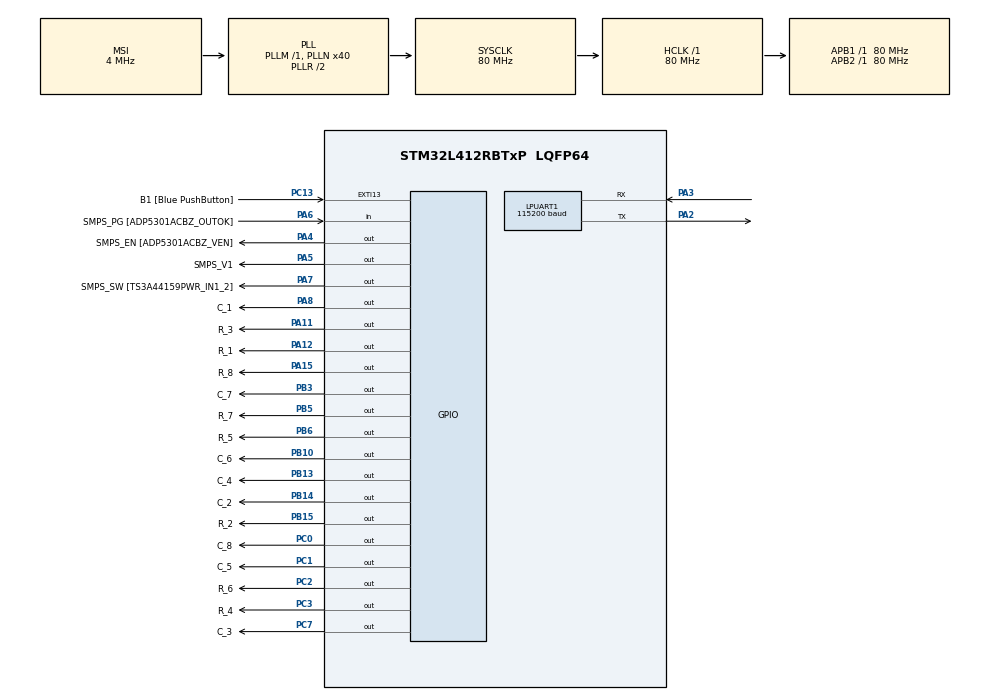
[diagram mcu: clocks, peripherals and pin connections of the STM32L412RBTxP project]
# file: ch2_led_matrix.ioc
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LPUART1.BaudRate=115200
LPUART1.WordLength=UART_WORDLENGTH_8B
Mcu.Family=STM32L4
Mcu.Name=STM32L412RBTxP
Mcu.Package=LQFP64
NVIC.PriorityGroup=NVIC_PRIORITYGROUP_4
PA11.GPIO_Label=R_3
PA11.PinState=GPIO_PIN_SET
PA11.Signal=GPIO_Output
PA12.GPIO_Label=R_1
PA12.PinState=GPIO_PIN_SET
PA12.Signal=GPIO_Output
PA13\ (JTMS/SWDIO).GPIO_Label=TMS
PA13\ (JTMS/SWDIO).Mode=Serial_Wire
PA13\ (JTMS/SWDIO).Signal=SYS_JTMS-SWDIO
PA14\ (JTCK/SWCLK).GPIO_Label=TCK
PA14\ (JTCK/SWCLK).Mode=Serial_Wire
PA14\ (JTCK/SWCLK).Signal=SYS_JTCK-SWCLK
PA15\ (JTDI).GPIO_Label=R_8
PA15\ (JTDI).PinState=GPIO_PIN_SET
PA15\ (JTDI).Signal=GPIO_Output
PA2.Mode=Asynchronous
PA2.Signal=LPUART1_TX
PA3.Mode=Asynchronous
PA3.Signal=LPUART1_RX
PA4.GPIO_Label=SMPS_EN [ADP5301ACBZ_VEN]
PA4.Signal=GPIO_Output
PA5.GPIO_Label=SMPS_V1
PA5.GPIO_ModeDefaultOutputPP=GPIO_MODE_OUTPUT_PP
PA5.GPIO_PuPd=GPIO_NOPULL
PA5.GPIO_Speed=GPIO_SPEED_FREQ_LOW
PA5.Signal=GPIO_Output
PA6.GPIO_Label=SMPS_PG [ADP5301ACBZ_OUTOK]
PA6.GPIO_PuPd=GPIO_PULLUP
PA6.Signal=GPIO_Input
PA7.GPIO_Label=SMPS_SW [TS3A44159PWR_IN1_2]
PA7.Signal=GPIO_Output
PA8.GPIO_Label=C_1
PA8.PinState=GPIO_PIN_RESET
PA8.Signal=GPIO_Output
PB10.GPIO_Label=C_6
PB10.PinState=GPIO_PIN_RESET
PB10.Signal=GPIO_Output
PB13.GPIO_Label=C_4
PB13.PinState=GPIO_PIN_RESET
PB13.Signal=GPIO_Output
PB14.GPIO_Label=C_2
PB14.PinState=GPIO_PIN_RESET
PB14.Signal=GPIO_Output
PB15.GPIO_Label=R_2
PB15.PinState=GPIO_PIN_SET
PB15.Signal=GPIO_Output
PB3\ (JTDO/TRACESWO).GPIO_Label=C_7
PB3\ (JTDO/TRACESWO).PinState=GPIO_PIN_RESET
PB3\ (JTDO/TRACESWO).Signal=GPIO_Output
PB5.GPIO_Label=R_7
PB5.PinState=GPIO_PIN_SET
PB5.Signal=GPIO_Output
PB6.GPIO_Label=R_5
PB6.PinState=GPIO_PIN_SET
PB6.Signal=GPIO_Output
PC0.GPIO_Label=C_8
PC0.PinState=GPIO_PIN_RESET
PC0.Signal=GPIO_Output
PC1.GPIO_Label=C_5
PC1.PinState=GPIO_PIN_RESET
PC1.Signal=GPIO_Output
PC13.GPIO_Label=B1 [Blue PushButton]
PC13.GPIO_ModeDefaultEXTI=GPIO_MODE_IT_FALLING
PC13.GPIO_PuPd=GPIO_NOPULL
PC13.Signal=GPXTI13
PC14-OSC32_IN\ (PC14).Mode=LSE-External-Oscillator
PC14-OSC32_IN\ (PC14).Signal=RCC_OSC32_IN
PC15-OSC32_OUT\ (PC15).Mode=LSE-External-Oscillator
PC15-OSC32_OUT\ (PC15).Signal=RCC_OSC32_OUT
PC2.GPIO_Label=R_6
PC2.PinState=GPIO_PIN_SET
PC2.Signal=GPIO_Output
PC3.GPIO_Label=R_4
PC3.PinState=GPIO_PIN_SET
PC3.Signal=GPIO_Output
PC7.GPIO_Label=C_3
PC7.PinState=GPIO_PIN_RESET
PC7.Signal=GPIO_Output
PH0-OSC_IN\ (PH0).GPIO_Label=MCO
PH0-OSC_IN\ (PH0).Mode=HSE-External-Clock-Source
PH0-OSC_IN\ (PH0).Signal=RCC_OSC_IN
PH1-OSC_OUT\ (PH1).Signal=RCC_OSC_OUT
ProjectManager.HeapSize=0x200
ProjectManager.StackSize=0x400
ProjectManager.TargetToolchain=STM32CubeIDE
RCC.ADCFreq_Value=80000000
RCC.AHBFreq_Value=80000000
RCC.APB1Freq_Value=80000000
RCC.APB1TimFreq_Value=80000000
RCC.APB2Freq_Value=80000000
RCC.APB2TimFreq_Value=80000000
RCC.CortexFreq_Value=80000000
RCC.FLatency=FLASH_LATENCY_4
RCC.HCLKFreq_Value=80000000
RCC.HSE_VALUE=8000000
RCC.HSI48_VALUE=48000000
RCC.HSICalibrationValue=64
RCC.HSI_VALUE=16000000
RCC.MSIAutoCalibration=DISABLED
RCC.MSI_VALUE=4000000
RCC.PLLN=40
RCC.PREFETCH_ENABLE=1
RCC.SYSCLKFreq_VALUE=80000000
RCC.SYSCLKSource=RCC_SYSCLKSOURCE_PLLCLK
RCC.USBFreq_Value=4000000
RCC.VCOOutputFreq_Value=160000000
board=NUCLEO-L412RB-P

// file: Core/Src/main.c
/* USER CODE BEGIN Header */
/**
  ******************************************************************************
  * @file           : main.c
  * @brief          : Main program body
  ******************************************************************************
  * @attention
  *
  * Copyright (c) 2026 STMicroelectronics.
  * All rights reserved.
  *
  * This software is licensed under terms that can be found in the LICENSE file
  * in the root directory of this software component.
  * If no LICENSE file comes with this software, it is provided AS-IS.
  *
  ******************************************************************************
  */
/* USER CODE END Header */
#include "main.h"

UART_HandleTypeDef hlpuart1;

void SystemClock_Config(void);
static void MX_GPIO_Init(void);
static void MX_LPUART1_UART_Init(void);

/* USER CODE BEGIN 0 */
#include <stdio.h>
#include <string.h>
#include <unistd.h>

//UART로 출력 보내기 위한 함수
int _write(int file, char *ptr, int len)
{
  if (file == STDOUT_FILENO)
  {
    HAL_UART_Transmit(&hlpuart1, (uint8_t*)ptr, len, HAL_MAX_DELAY);
    return len;
  }
  return -1;
}

/* USER CODE END 0 */

int main(void)
{

  /* MCU Configuration--------------------------------------------------------*/

  /* Reset of all peripherals, Initializes the Flash interface and the Systick. */
  HAL_Init();

  /* Configure the system clock */
  SystemClock_Config();

  /* Initialize all configured peripherals */
  MX_GPIO_Init();
  MX_LPUART1_UART_Init();

  /* Infinite loop */
  while (1)
  {

    /* USER CODE BEGIN 3 */
    HAL_GPIO_WritePin(C_4_GPIO_Port, C_4_Pin, GPIO_PIN_SET);
    HAL_Delay(500);
    HAL_GPIO_WritePin(C_4_GPIO_Port, C_4_Pin, GPIO_PIN_RESET);
    HAL_GPIO_WritePin(R_2_GPIO_Port, R_2_Pin, GPIO_PIN_RESET);
    printf("test 1 \r\n");
    HAL_Delay(500);

    MX_GPIO_Init();
    printf("test 1-1 \r\n");
    HAL_Delay(500);

    HAL_GPIO_WritePin(C_4_GPIO_Port, C_4_Pin, GPIO_PIN_RESET);
    HAL_GPIO_WritePin(R_2_GPIO_Port, R_2_Pin, GPIO_PIN_SET);
    printf("test 2 \r\n");
    HAL_Delay(500);
  }
  /* USER CODE END 3 */
}

void SystemClock_Config(void)
{
  RCC_OscInitTypeDef RCC_OscInitStruct = {0};
  RCC_ClkInitTypeDef RCC_ClkInitStruct = {0};

  /** Configure the main internal regulator output voltage
  */
  if (HAL_PWREx_ControlVoltageScaling(PWR_REGULATOR_VOLTAGE_SCALE1) != HAL_OK)
  {
    Error_Handler();
  }

  /** Initializes the RCC Oscillators according to the specified parameters
  * in the RCC_OscInitTypeDef structure.
  */
  RCC_OscInitStruct.OscillatorType = RCC_OSCILLATORTYPE_MSI;
  RCC_OscInitStruct.MSIState = RCC_MSI_ON;
  RCC_OscInitStruct.MSICalibrationValue = 0;
  RCC_OscInitStruct.MSIClockRange = RCC_MSIRANGE_6;
  RCC_OscInitStruct.PLL.PLLState = RCC_PLL_ON;
  RCC_OscInitStruct.PLL.PLLSource = RCC_PLLSOURCE_MSI;
  RCC_OscInitStruct.PLL.PLLM = 1;
  RCC_OscInitStruct.PLL.PLLN = 40;
  RCC_OscInitStruct.PLL.PLLQ = RCC_PLLQ_DIV2;
  RCC_OscInitStruct.PLL.PLLR = RCC_PLLR_DIV2;
  if (HAL_RCC_OscConfig(&RCC_OscInitStruct) != HAL_OK)
  {
    Error_Handler();
  }

  /** Initializes the CPU, AHB and APB buses clocks
  */
  RCC_ClkInitStruct.ClockType = RCC_CLOCKTYPE_HCLK|RCC_CLOCKTYPE_SYSCLK
                              |RCC_CLOCKTYPE_PCLK1|RCC_CLOCKTYPE_PCLK2;
  RCC_ClkInitStruct.SYSCLKSource = RCC_SYSCLKSOURCE_PLLCLK;
  RCC_ClkInitStruct.AHBCLKDivider = RCC_SYSCLK_DIV1;
  RCC_ClkInitStruct.APB1CLKDivider = RCC_HCLK_DIV1;
  RCC_ClkInitStruct.APB2CLKDivider = RCC_HCLK_DIV1;

  if (HAL_RCC_ClockConfig(&RCC_ClkInitStruct, FLASH_LATENCY_4) != HAL_OK)
  {
    Error_Handler();
  }
}

static void MX_LPUART1_UART_Init(void)
{

  hlpuart1.Instance = LPUART1;
  hlpuart1.Init.BaudRate = 115200;
  hlpuart1.Init.WordLength = UART_WORDLENGTH_8B;
  hlpuart1.Init.StopBits = UART_STOPBITS_1;
  hlpuart1.Init.Parity = UART_PARITY_NONE;
  hlpuart1.Init.Mode = UART_MODE_TX_RX;
  hlpuart1.Init.HwFlowCtl = UART_HWCONTROL_NONE;
  hlpuart1.Init.OneBitSampling = UART_ONE_BIT_SAMPLE_DISABLE;
  hlpuart1.AdvancedInit.AdvFeatureInit = UART_ADVFEATURE_NO_INIT;
  if (HAL_UART_Init(&hlpuart1) != HAL_OK)
  {
    Error_Handler();
  }

}

static void MX_GPIO_Init(void)
{
  GPIO_InitTypeDef GPIO_InitStruct = {0};

  /* GPIO Ports Clock Enable */
  __HAL_RCC_GPIOC_CLK_ENABLE();
  __HAL_RCC_GPIOH_CLK_ENABLE();
  __HAL_RCC_GPIOA_CLK_ENABLE();
  __HAL_RCC_GPIOB_CLK_ENABLE();

  /*Configure GPIO pin Output Level */
  HAL_GPIO_WritePin(GPIOC, C_8_Pin|C_5_Pin|C_3_Pin, GPIO_PIN_RESET);

  /*Configure GPIO pin Output Level */
  HAL_GPIO_WritePin(GPIOC, R_6_Pin|R_4_Pin, GPIO_PIN_SET);

  /*Configure GPIO pin Output Level */
  HAL_GPIO_WritePin(GPIOA, SMPS_EN_Pin|SMPS_V1_Pin|SMPS_SW_Pin|C_1_Pin, GPIO_PIN_RESET);

  /*Configure GPIO pin Output Level */
  HAL_GPIO_WritePin(GPIOB, C_6_Pin|C_4_Pin|C_2_Pin|C_7_Pin, GPIO_PIN_RESET);

  /*Configure GPIO pin Output Level */
  HAL_GPIO_WritePin(GPIOB, R_2_Pin|R_7_Pin|R_5_Pin, GPIO_PIN_SET);

  /*Configure GPIO pin Output Level */
  HAL_GPIO_WritePin(GPIOA, R_3_Pin|R_1_Pin|R_8_Pin, GPIO_PIN_SET);

  /*Configure GPIO pin : B1_Pin */
  GPIO_InitStruct.Pin = B1_Pin;
  GPIO_InitStruct.Mode = GPIO_MODE_IT_FALLING;
  GPIO_InitStruct.Pull = GPIO_NOPULL;
  HAL_GPIO_Init(B1_GPIO_Port, &GPIO_InitStruct);

  /*Configure GPIO pins : C_8_Pin C_5_Pin R_6_Pin R_4_Pin
                           C_3_Pin */
  GPIO_InitStruct.Pin = C_8_Pin|C_5_Pin|R_6_Pin|R_4_Pin
                          |C_3_Pin;
  GPIO_InitStruct.Mode = GPIO_MODE_OUTPUT_PP;
  GPIO_InitStruct.Pull = GPIO_NOPULL;
  GPIO_InitStruct.Speed = GPIO_SPEED_FREQ_LOW;
  HAL_GPIO_Init(GPIOC, &GPIO_InitStruct);

  /*Configure GPIO pins : SMPS_EN_Pin SMPS_V1_Pin SMPS_SW_Pin C_1_Pin
                           R_3_Pin R_1_Pin R_8_Pin */
  GPIO_InitStruct.Pin = SMPS_EN_Pin|SMPS_V1_Pin|SMPS_SW_Pin|C_1_Pin
                          |R_3_Pin|R_1_Pin|R_8_Pin;
  GPIO_InitStruct.Mode = GPIO_MODE_OUTPUT_PP;
  GPIO_InitStruct.Pull = GPIO_NOPULL;
  GPIO_InitStruct.Speed = GPIO_SPEED_FREQ_LOW;
  HAL_GPIO_Init(GPIOA, &GPIO_InitStruct);

  /*Configure GPIO pin : SMPS_PG_Pin */
  GPIO_InitStruct.Pin = SMPS_PG_Pin;
  GPIO_InitStruct.Mode = GPIO_MODE_INPUT;
  GPIO_InitStruct.Pull = GPIO_PULLUP;
  HAL_GPIO_Init(SMPS_PG_GPIO_Port, &GPIO_InitStruct);

  /*Configure GPIO pins : C_6_Pin C_4_Pin C_2_Pin R_2_Pin
                           C_7_Pin R_7_Pin R_5_Pin */
  GPIO_InitStruct.Pin = C_6_Pin|C_4_Pin|C_2_Pin|R_2_Pin
                          |C_7_Pin|R_7_Pin|R_5_Pin;
  GPIO_InitStruct.Mode = GPIO_MODE_OUTPUT_PP;
  GPIO_InitStruct.Pull = GPIO_NOPULL;
  GPIO_InitStruct.Speed = GPIO_SPEED_FREQ_LOW;
  HAL_GPIO_Init(GPIOB, &GPIO_InitStruct);

}

void Error_Handler(void)
{
  __disable_irq();
  while (1)
  {
  }
}
